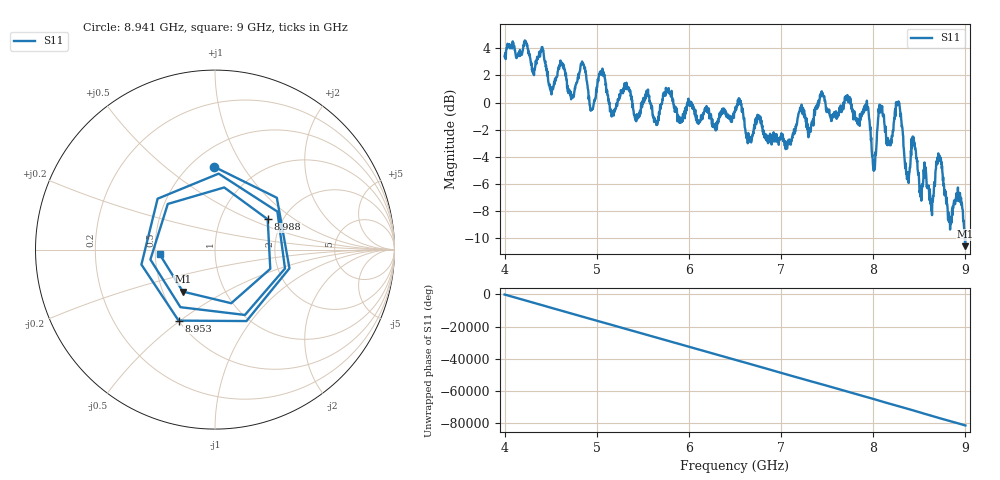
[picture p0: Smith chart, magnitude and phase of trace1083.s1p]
! Created with skrf 1.8.0 (http://scikit-rf.org).
# Hz S RI R 50.0
!freq ReS11 ImS11
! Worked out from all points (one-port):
!   1601 points, 4 GHz to 9 GHz, reference 50 ohm
!   lowest |S11| = -10.6 dB at 8.997 GHz (marker M1), VSWR 1.84, Z = 31.6 - j16.2 ohm
!   |S11| at or under -10 dB: 8.993115 GHz to end of sweep
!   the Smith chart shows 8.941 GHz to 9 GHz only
!   S11 on the Smith chart (normalised r, x): 8.941 GHz: 0.64, +0.75; 8.953 GHz: 0.50, -0.49; 8.988 GHz: 1.68, +0.64; 9 GHz: 0.53, -0.03
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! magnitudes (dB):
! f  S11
! 4 GHz  3.4
! 4.506 GHz  0.7
! 4.625 GHz  2.8
! 4.731 GHz  0.4
! 4.853 GHz  2.9
! 4.944 GHz  -0.6
! 5.05 GHz  2.0
! 5.166 GHz  -0.9
! 5.25 GHz  0.5
! 5.875 GHz  -1.4
! 6.5 GHz  -0.6
! 7.125 GHz  -2.4
! 7.75 GHz  0.3
! 7.931 GHz  0.1
! 8.009 GHz  -4.3
! 8.075 GHz  -0.3
! 8.172 GHz  -2.8
! 8.269 GHz  0.0
! 8.375 GHz  -5.1
! 8.441 GHz  -2.8
! 8.631 GHz  -8.0
! 8.709 GHz  -4.1
! 8.828 GHz  -8.6
! 8.941 GHz  -6.7
! 8.953 GHz  -7.0
! 8.988 GHz  -9.4
! 8.997 GHz  -10.6
! 9 GHz  -10.2
